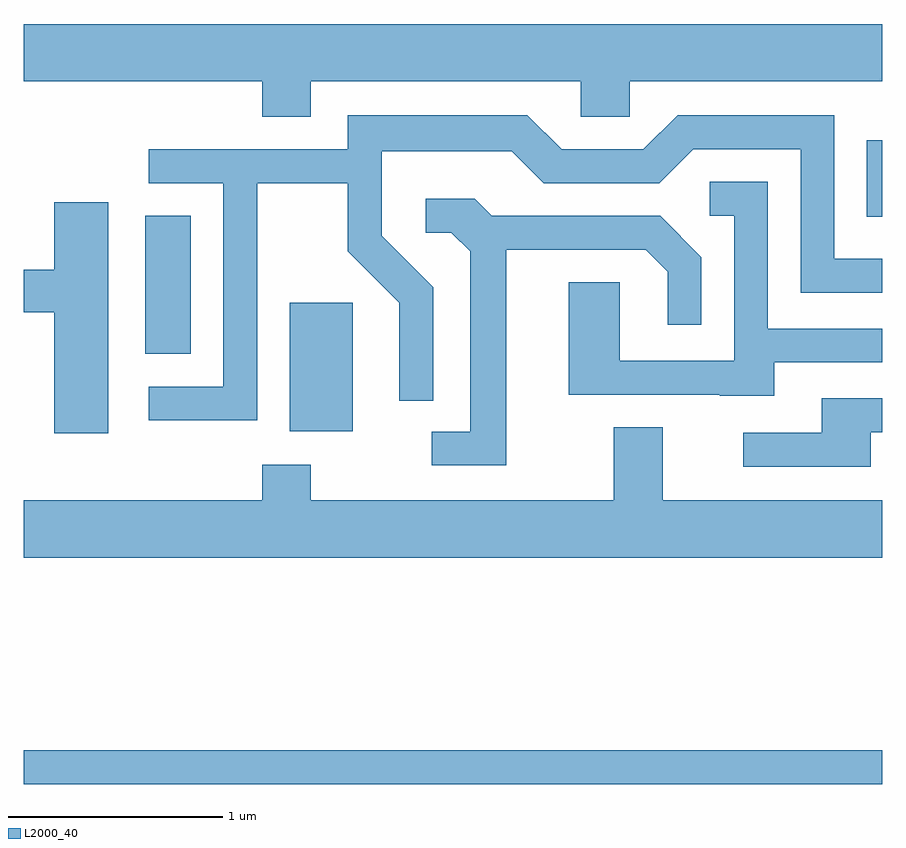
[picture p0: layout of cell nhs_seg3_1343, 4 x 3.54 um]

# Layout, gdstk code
import gdstk
lib = gdstk.Library(unit=1e-6, precision=1e-09)
def R(c, l, rs):  # rectangles x0, y0, x1, y1
    for r in rs: c.add(gdstk.rectangle(r[:2], r[2:], *l))
def P(c, l, *ps):  # polygons
    for p in ps: c.add(gdstk.Polygon(p, *l))
L2000_40 = (2000, 40)

nhs_seg3_1343 = lib.new_cell('nhs_seg3_1343')
R(nhs_seg3_1343, L2000_40, [(223.611,1218.201,227.611,1218.359), (224.851,1219.846,225.144,1220.444), (224.176,1220.206,224.389,1220.849), (227.541,1220.846,227.611,1221.203)])
P(nhs_seg3_1343, L2000_40, [(224.949,1221.476),(226.206,1221.476),(226.206,1221.311),(226.434,1221.311),(226.434,1221.476),(227.611,1221.476),(227.611,1221.744),(223.611,1221.744),(223.611,1221.476),(224.721,1221.476),(224.721,1221.311),(224.949,1221.311)],
  [(224.699,1221.001),(225.121,1221.001),(225.121,1220.684),(225.361,1220.444),(225.361,1219.988),(225.519,1219.988),(225.519,1220.517),(225.279,1220.757),(225.279,1221.151),(225.884,1221.151),(226.034,1221.001),(226.572,1221.001),(226.732,1221.161),(227.231,1221.161),(227.231,1220.491),(227.611,1220.491),(227.611,1220.649),(227.389,1220.649),(227.389,1221.319),(226.659,1221.319),(226.499,1221.159),(226.117,1221.159),(225.957,1221.319),(225.121,1221.319),(225.121,1221.159),(224.193,1221.159),(224.193,1221.001),(224.541,1221.001),(224.541,1220.054),(224.193,1220.054),(224.193,1219.896),(224.699,1219.896)],
  [(227.109,1220.166),(227.611,1220.166),(227.611,1220.324),(227.079,1220.324),(227.079,1221.009),(226.808,1221.009),(226.808,1220.851),(226.921,1220.851),(226.921,1220.174),(226.389,1220.174),(226.389,1220.539),(226.151,1220.539),(226.151,1220.016),(226.855,1220.016),(226.855,1220.011),(227.109,1220.011)],
  [(225.859,1220.691),(226.509,1220.691),(226.611,1220.589),(226.611,1220.343),(226.769,1220.343),(226.769,1220.657),(226.577,1220.849),(225.792,1220.849),(225.712,1220.929),(225.483,1220.929),(225.483,1220.771),(225.604,1220.771),(225.691,1220.684),(225.691,1219.844),(225.513,1219.844),(225.513,1219.686),(225.859,1219.686)],
  [(224.004,1220.914),(223.751,1220.914),(223.751,1220.599),(223.611,1220.599),(223.611,1220.401),(223.751,1220.401),(223.751,1219.836),(224.004,1219.836)],
  [(227.559,1219.841),(227.611,1219.841),(227.611,1219.999),(227.331,1219.999),(227.331,1219.839),(226.963,1219.839),(226.963,1219.681),(227.559,1219.681)],
  [(227.611,1219.524),(226.589,1219.524),(226.589,1219.864),(226.361,1219.864),(226.361,1219.524),(224.949,1219.524),(224.949,1219.689),(224.721,1219.689),(224.721,1219.524),(223.611,1219.524),(223.611,1219.256),(227.611,1219.256)])

lib.write_gds('nhs_seg3_1343.gds')
